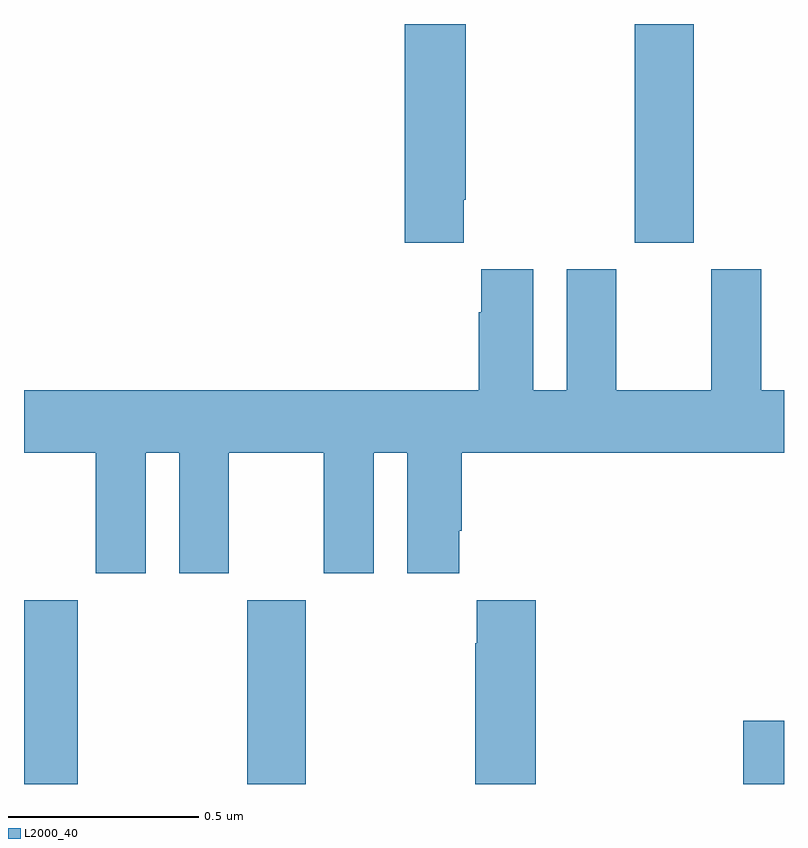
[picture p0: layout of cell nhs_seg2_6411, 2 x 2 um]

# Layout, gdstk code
import gdstk
lib = gdstk.Library(unit=1e-6, precision=1e-09)
def R(c, l, rs):  # rectangles x0, y0, x1, y1
    for r in rs: c.add(gdstk.rectangle(r[:2], r[2:], *l))
def P(c, l, *ps):  # polygons
    for p in ps: c.add(gdstk.Polygon(p, *l))
L2000_40 = (2000, 40)

nhs_seg2_6411 = lib.new_cell('nhs_seg2_6411')
R(nhs_seg2_6411, L2000_40, [(191,610.8,191.142,611.284), (191.587,610.8,191.742,611.284), (192.893,610.8,193,610.966), (192.607,612.225,192.762,612.8)])
P(nhs_seg2_6411, L2000_40, [(192.157,612.337),(192.162,612.337),(192.162,612.8),(192.002,612.8),(192.002,612.225),(192.157,612.225)],
  [(191.32,611.672),(191.408,611.672),(191.408,611.355),(191.539,611.355),(191.539,611.672),(191.789,611.672),(191.789,611.355),(191.92,611.355),(191.92,611.672),(192.008,611.672),(192.008,611.355),(192.145,611.355),(192.145,611.467),(192.152,611.467),(192.152,611.672),(193,611.672),(193,611.836),(192.94,611.836),(192.94,612.154),(192.809,612.154),(192.809,611.836),(192.559,611.836),(192.559,612.154),(192.428,612.154),(192.428,611.836),(192.34,611.836),(192.34,612.154),(192.203,612.154),(192.203,612.041),(192.197,612.041),(192.197,611.836),(191,611.836),(191,611.672),(191.189,611.672),(191.189,611.355),(191.32,611.355)],
  [(192.347,611.284),(192.191,611.284),(192.191,611.171),(192.187,611.171),(192.187,610.8),(192.347,610.8)])

lib.write_gds('nhs_seg2_6411.gds')
